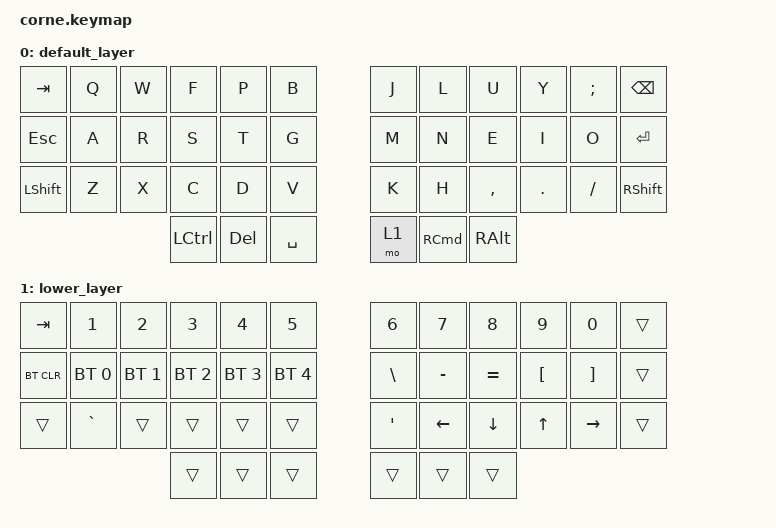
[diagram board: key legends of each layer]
/*
 * Copyright (c) 2020 The ZMK Contributors
 *
 * SPDX-License-Identifier: MIT
 */

#include <behaviors.dtsi>
#include <dt-bindings/zmk/keys.h>
#include <dt-bindings/zmk/bt.h>

/ {
        keymap {
                compatible = "zmk,keymap";

                default_layer {
// -----------------------------------------------------------------------------------------
// |  TAB |  Q  |  W  |  F  |  P  |  B  |   |  J  |  L  |  U  |  Y  |  ;  | BKSP |
// |  ESC |  A  |  R  |  S  |  T  |  G  |   |  M  |  N  |  E  |  I  |  O  |  ENT |
// | SHFT |  Z  |  X  |  C  |  D  |  V  |   |  K  |  H  |  ,  |  .  |  /  | SHFT |
//                    | CTRL| DEL | SPC |   | FUN | CMD | ALT |
                        bindings = <
   &kp TAB   &kp Q &kp W  &kp F     &kp P   &kp B      &kp J  &kp L    &kp U     &kp Y   &kp SEMI &kp BSPC
   &kp ESC   &kp A &kp R  &kp S     &kp T   &kp G      &kp M  &kp N    &kp E     &kp I   &kp O    &kp RET
   &kp LSHFT &kp Z &kp X  &kp C     &kp D   &kp V      &kp K  &kp H    &kp COMMA &kp DOT &kp FSLH &kp RSHIFT
                          &kp LCTRL &kp DEL &kp SPACE  &mo 1  &kp RCMD &kp RALT
                        >;
                };
                lower_layer {
// -----------------------------------------------------------------------------------------
// |  TAB |  1  |  2  |  3  |  4  |  5  |   |  6  |  7  |  8  |  9  |  0  | BKSP |
// | BTCLR| BT1 | BT2 | BT3 | BT4 | BT5 |   |  \  |  -  |  =  |  [  |  ]  | ENT  |
// | SHFT |  `  |     |     |     |     |   |  '  | LFT | DWN |  UP | RGT | SHFT |
//                    | CTRL| DEL | SPC |   | FUN | CMD | ALT |
                        bindings = <
   &kp TAB    &kp N1       &kp N2       &kp N3       &kp N4          &kp N5          &kp N6   &kp N7    &kp N8    &kp N9    &kp N0    &trans
   &bt BT_CLR &bt BT_SEL 0 &bt BT_SEL 1 &bt BT_SEL 2 &bt BT_SEL 3    &bt BT_SEL 4    &kp BSLH &kp MINUS &kp EQUAL &kp LBKT  &kp RBKT  &trans
   &trans     &kp GRAVE    &trans       &trans       &trans &trans   &kp APOS &kp LEFT  &kp DOWN  &kp UP    &kp RIGHT &trans
                          	      &trans       &trans          &trans          &trans   &trans    &trans
                        >;
                };
        };
};
